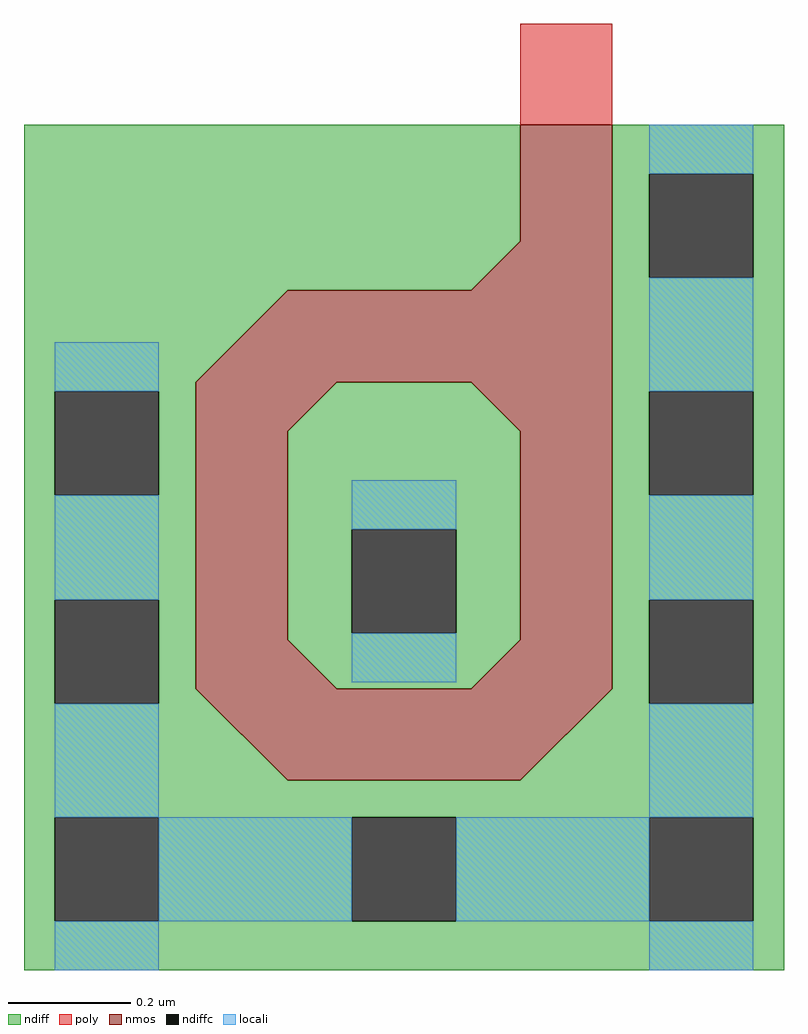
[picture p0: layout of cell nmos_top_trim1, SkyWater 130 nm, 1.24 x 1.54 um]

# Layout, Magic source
magic
tech sky130A
magscale 1 2
<< nmos >>
tri 146 222 162 238 se
rect 162 222 192 276
tri 56 192 86 222 se
rect 86 192 192 222
rect 56 92 86 192
tri 86 176 102 192 nw
tri 146 176 162 192 ne
tri 86 92 102 108 sw
tri 146 92 162 108 se
rect 162 92 192 192
tri 56 62 86 92 ne
rect 86 62 162 92
tri 162 62 192 92 nw
<< ndiff >>
rect 0 238 162 276
rect 0 222 146 238
tri 146 222 162 238 nw
rect 192 260 248 276
rect 192 226 204 260
rect 238 226 248 260
rect 0 189 56 222
tri 56 192 86 222 nw
rect 0 155 10 189
rect 44 155 56 189
rect 0 121 56 155
rect 0 87 10 121
rect 44 87 56 121
tri 86 176 102 192 se
rect 102 176 146 192
tri 146 176 162 192 sw
rect 86 144 162 176
rect 86 110 107 144
rect 141 110 162 144
rect 86 108 162 110
tri 86 92 102 108 ne
rect 102 92 146 108
tri 146 92 162 108 nw
rect 192 189 248 226
rect 192 155 204 189
rect 238 155 248 189
rect 192 121 248 155
rect 0 62 56 87
tri 56 62 86 92 sw
tri 162 62 192 92 se
rect 192 87 204 121
rect 238 87 248 121
rect 192 62 248 87
rect 0 50 248 62
rect 0 16 10 50
rect 44 16 107 50
rect 141 16 204 50
rect 238 16 248 50
rect 0 0 248 16
<< ndiffc >>
rect 204 226 238 260
rect 10 155 44 189
rect 10 87 44 121
rect 107 110 141 144
rect 204 155 238 189
rect 204 87 238 121
rect 10 16 44 50
rect 107 16 141 50
rect 204 16 238 50
<< poly >>
rect 162 276 192 309
<< locali >>
rect 204 260 238 276
rect 10 189 44 205
rect 204 189 238 226
rect 10 121 44 155
rect 107 144 141 160
rect 107 94 141 110
rect 204 121 238 155
rect 10 50 44 87
rect 204 50 238 87
rect 44 16 107 50
rect 141 16 204 50
rect 10 0 44 16
rect 204 0 238 16
<< end >>
